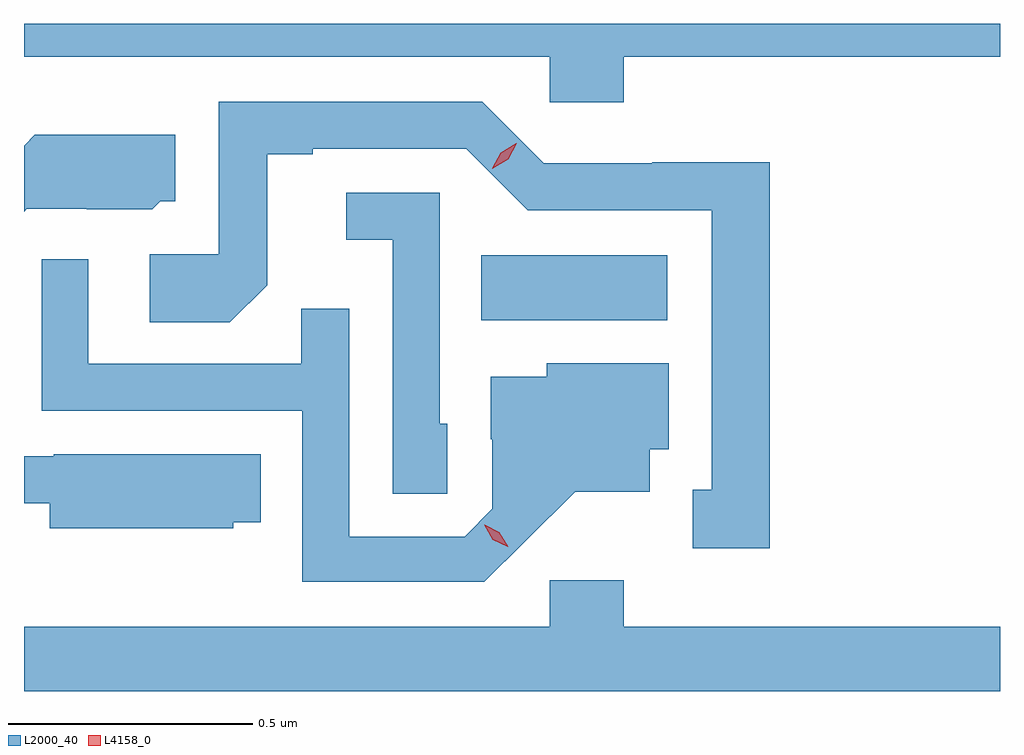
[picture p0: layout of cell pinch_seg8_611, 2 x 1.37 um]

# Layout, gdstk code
import gdstk
lib = gdstk.Library(unit=1e-6, precision=1e-09)
def R(c, l, rs):  # rectangles x0, y0, x1, y1
    for r in rs: c.add(gdstk.rectangle(r[:2], r[2:], *l))
def P(c, l, *ps):  # polygons
    for p in ps: c.add(gdstk.Polygon(p, *l))
L2000_40 = (2000, 40)
L4158_0 = (4158, 0)

pinch_seg8_611 = lib.new_cell('pinch_seg8_611')
R(pinch_seg8_611, L2000_40, [(115.168,1082.66,115.549,1082.794)])
P(pinch_seg8_611, L2000_40, [(115.46,1083.2),(116.231,1083.2),(116.231,1083.268),(114.231,1083.268),(114.231,1083.2),(115.308,1083.2),(115.308,1083.107),(115.46,1083.107)],
  [(115.759,1082.984),(115.518,1082.984),(115.518,1082.982),(115.296,1082.982),(115.17,1083.108),(114.63,1083.108),(114.63,1082.796),(114.489,1082.796),(114.489,1082.656),(114.653,1082.656),(114.729,1082.732),(114.729,1083),(114.823,1083),(114.823,1083.012),(115.137,1083.012),(115.263,1082.886),(115.64,1082.886),(115.64,1082.313),(115.601,1082.313),(115.601,1082.193),(115.759,1082.193)],
  [(114.237,1082.889),(114.36,1082.889),(114.36,1082.888),(114.494,1082.888),(114.51,1082.904),(114.541,1082.904),(114.541,1083.04),(114.253,1083.04),(114.231,1083.018),(114.231,1082.883)],
  [(115.098,1082.448),(115.083,1082.448),(115.083,1082.922),(114.891,1082.922),(114.891,1082.825),(114.987,1082.825),(114.987,1082.305),(115.098,1082.305)],
  [(115.258,1082.207),(115.361,1082.309),(115.513,1082.309),(115.513,1082.396),(115.552,1082.396),(115.552,1082.572),(115.302,1082.572),(115.302,1082.545),(115.187,1082.545),(115.187,1082.416),(115.191,1082.416),(115.191,1082.274),(115.134,1082.217),(114.897,1082.217),(114.897,1082.684),(114.799,1082.684),(114.799,1082.571),(114.363,1082.571),(114.363,1082.785),(114.267,1082.785),(114.267,1082.475),(114.801,1082.475),(114.801,1082.124),(115.174,1082.124)],
  [(114.66,1082.246),(114.716,1082.246),(114.716,1082.386),(114.292,1082.386),(114.292,1082.382),(114.231,1082.382),(114.231,1082.285),(114.284,1082.285),(114.284,1082.234),(114.66,1082.234)],
  [(116.231,1082.032),(115.46,1082.032),(115.46,1082.128),(115.308,1082.128),(115.308,1082.032),(114.231,1082.032),(114.231,1081.9),(116.231,1081.9)])
P(pinch_seg8_611, L4158_0, [(115.191,1082.971),(115.191,1082.972),(115.208,1083.004),(115.24,1083.023),(115.241,1083.023),(115.241,1083.023),(115.223,1082.99),(115.191,1082.971)],
  [(115.222,1082.196),(115.192,1082.211),(115.174,1082.241),(115.174,1082.241),(115.175,1082.241),(115.205,1082.226),(115.223,1082.196),(115.223,1082.196)])

lib.write_gds('pinch_seg8_611.gds')
